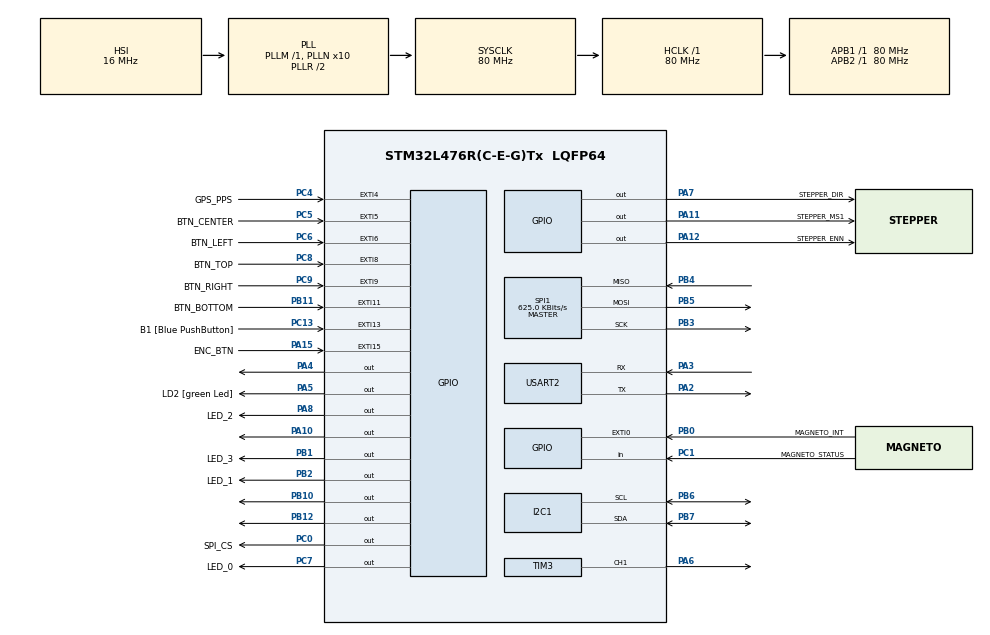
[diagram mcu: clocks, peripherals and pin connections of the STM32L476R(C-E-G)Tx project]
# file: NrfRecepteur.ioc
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I2C1.Timing=0x10909CEC
Mcu.Family=STM32L4
Mcu.Name=STM32L476R(C-E-G)Tx
Mcu.Package=LQFP64
NVIC.EXTI15_10_IRQn=true\:0\:0\:false\:false\:true\:true\:true\:true
NVIC.PriorityGroup=NVIC_PRIORITYGROUP_4
NVIC.TIM4_IRQn=true\:0\:0\:false\:false\:true\:true\:true\:true
NVIC.TIM6_DAC_IRQn=true\:15\:0\:false\:false\:true\:false\:true\:true
NVIC.TimeBase=TIM6_DAC_IRQn
NVIC.TimeBaseIP=TIM6
PA0.Signal=S_TIM2_CH1
PA1.Signal=S_TIM2_CH2
PA10.Signal=GPIO_Output
PA11.GPIO_Label=STEPPER_MS1
PA11.Signal=GPIO_Output
PA12.GPIO_Label=STEPPER_ENN
PA12.PinState=GPIO_PIN_SET
PA12.Signal=GPIO_Output
PA13\ (JTMS-SWDIO).GPIO_Label=TMS
PA13\ (JTMS-SWDIO).Signal=SYS_JTMS-SWDIO
PA14\ (JTCK-SWCLK).GPIO_Label=TCK
PA14\ (JTCK-SWCLK).Signal=SYS_JTCK-SWCLK
PA15\ (JTDI).GPIO_Label=ENC_BTN
PA15\ (JTDI).Signal=GPXTI15
PA2.Mode=Asynchronous
PA2.Signal=USART2_TX
PA3.Mode=Asynchronous
PA3.Signal=USART2_RX
PA4.Signal=GPIO_Output
PA5.GPIO_Label=LD2 [green Led]
PA5.GPIO_ModeDefaultOutputPP=GPIO_MODE_OUTPUT_PP
PA5.GPIO_PuPd=GPIO_NOPULL
PA5.GPIO_Speed=GPIO_SPEED_FREQ_LOW
PA5.Signal=GPIO_Output
PA6.Signal=S_TIM3_CH1
PA7.GPIO_Label=STEPPER_DIR
PA7.Signal=GPIO_Output
PA8.GPIO_Label=LED_2
PA8.Signal=GPIO_Output
PB0.GPIO_Label=MAGNETO_INT
PB0.Signal=GPXTI0
PB1.GPIO_Label=LED_3
PB1.Signal=GPIO_Output
PB10.Signal=GPIO_Output
PB11.GPIO_Label=BTN_BOTTOM
PB11.Signal=GPXTI11
PB12.Signal=GPIO_Output
PB13.Signal=SPI2_SCK
PB14.Signal=SPI2_MISO
PB15.Signal=SPI2_MOSI
PB2.GPIO_Label=LED_1
PB2.Signal=GPIO_Output
PB3\ (JTDO-TRACESWO).Mode=Full_Duplex_Master
PB3\ (JTDO-TRACESWO).Signal=SPI1_SCK
PB4\ (NJTRST).Mode=Full_Duplex_Master
PB4\ (NJTRST).Signal=SPI1_MISO
PB5.Mode=Full_Duplex_Master
PB5.Signal=SPI1_MOSI
PB6.Mode=I2C
PB6.Signal=I2C1_SCL
PB7.Mode=I2C
PB7.Signal=I2C1_SDA
PC0.GPIO_Label=SPI_CS
PC0.PinState=GPIO_PIN_SET
PC0.Signal=GPIO_Output
PC1.GPIO_Label=MAGNETO_STATUS
PC1.Signal=GPIO_Input
PC13.GPIO_Label=B1 [Blue PushButton]
PC13.GPIO_ModeDefaultEXTI=GPIO_MODE_IT_FALLING
PC13.GPIO_PuPd=GPIO_NOPULL
PC13.Signal=GPXTI13
PC14-OSC32_IN\ (PC14).Mode=LSE-External-Oscillator
PC14-OSC32_IN\ (PC14).Signal=RCC_OSC32_IN
PC15-OSC32_OUT\ (PC15).Mode=LSE-External-Oscillator
PC15-OSC32_OUT\ (PC15).Signal=RCC_OSC32_OUT
PC4.GPIO_Label=GPS_PPS
PC4.Signal=GPXTI4
PC5.GPIO_Label=BTN_CENTER
PC5.Signal=GPXTI5
PC6.GPIO_Label=BTN_LEFT
PC6.Signal=GPXTI6
PC7.GPIO_Label=LED_0
PC7.Signal=GPIO_Output
PC8.GPIO_Label=BTN_TOP
PC8.Signal=GPXTI8
PC9.GPIO_Label=BTN_RIGHT
PC9.Signal=GPXTI9
PH0-OSC_IN\ (PH0).Mode=HSE-External-Oscillator
PH0-OSC_IN\ (PH0).Signal=RCC_OSC_IN
PH1-OSC_OUT\ (PH1).Mode=HSE-External-Oscillator
PH1-OSC_OUT\ (PH1).Signal=RCC_OSC_OUT
ProjectManager.HeapSize=0x200
ProjectManager.StackSize=0x400
ProjectManager.TargetToolchain=STM32CubeIDE
RCC.ADCFreq_Value=64000000
RCC.AHBFreq_Value=80000000
RCC.APB1Freq_Value=80000000
RCC.APB1TimFreq_Value=80000000
RCC.APB2Freq_Value=80000000
RCC.APB2TimFreq_Value=80000000
RCC.CortexFreq_Value=80000000
RCC.HCLKFreq_Value=80000000
RCC.HSE_VALUE=8000000
RCC.HSI_VALUE=16000000
RCC.MSI_VALUE=4000000
RCC.PLLN=10
RCC.PLLSourceVirtual=RCC_PLLSOURCE_HSI
RCC.PREFETCH_ENABLE=1
RCC.SYSCLKFreq_VALUE=80000000
RCC.SYSCLKSource=RCC_SYSCLKSOURCE_PLLCLK
RCC.USBFreq_Value=64000000
RCC.VCOOutputFreq_Value=160000000
SH.S_TIM2_CH1.0=TIM2_CH1
SH.S_TIM2_CH2.0=TIM2_CH2
SH.S_TIM3_CH1.0=TIM3_CH1,PWM Generation1 CH1
SPI1.BaudRatePrescaler=SPI_BAUDRATEPRESCALER_128
SPI1.CLKPhase=SPI_PHASE_1EDGE
SPI1.CLKPolarity=SPI_POLARITY_LOW
SPI1.CalculateBaudRate=625.0 KBits/s
SPI1.DataSize=SPI_DATASIZE_8BIT
SPI1.Direction=SPI_DIRECTION_2LINES
SPI1.Mode=SPI_MODE_MASTER
SPI1.VirtualType=VM_MASTER
TIM3.Channel-PWM\ Generation1\ CH1=TIM_CHANNEL_1
TIM4.Period=9999
TIM4.Prescaler=79
TIM4.TIM_MasterOutputTrigger=TIM_TRGO_UPDATE
USART2.VirtualMode-Asynchronous=VM_ASYNC
VP_SYS_VS_tim6.Mode=TIM6
VP_TIM3_VS_ClockSourceINT.Mode=Internal
VP_TIM4_VS_ClockSourceINT.Mode=Internal
board=NUCLEO-L476RG

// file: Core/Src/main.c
/* USER CODE BEGIN Header */
/**
  ******************************************************************************
  * @file           : main.c
  * @brief          : Main program body
  ******************************************************************************
  * @attention
  *
  * Copyright (c) 2026 STMicroelectronics.
  * All rights reserved.
  *
  * This software is licensed under terms that can be found in the LICENSE file
  * in the root directory of this software component.
  * If no LICENSE file comes with this software, it is provided AS-IS.
  *
  ******************************************************************************
  */
/* USER CODE END Header */
#include "main.h"
#include "i2c.h"
#include "spi.h"
#include "tim.h"
#include "usart.h"
#include "gpio.h"
#include <stdio.h>
#include <stdlib.h>
#include<stdbool.h>
#include "recepteur.h"

void SystemClock_Config(void);

/* USER CODE BEGIN 0 */
int __io_putchar(int ch)
{
	HAL_UART_Transmit(&huart2, (uint8_t *)&ch, 1, HAL_MAX_DELAY);
	return ch;
}

int __io_getchar(void)
{
	uint8_t ch = 0;
	__HAL_UART_CLEAR_OREFLAG(&huart2);
	HAL_UART_Receive(&huart2, (uint8_t *)&ch, 1, HAL_MAX_DELAY);
	HAL_UART_Transmit(&huart2, (uint8_t *)&ch, 1, HAL_MAX_DELAY);
	return ch;
}

extern SPI_HandleTypeDef hspi1; // À remplacer par hspi2 si CubeMX a configuré le SPI2

void nRF24_SPI_Init(void) {}

uint8_t nRF24_SPI_TransmitReceive(uint8_t data) {
    uint8_t rx_data = 0;
    HAL_SPI_TransmitReceive(&hspi1, &data, &rx_data, 1, 100);
    return rx_data;
}

void nRF24_SetCE(uint8_t state) {
    // Configuration sur le trou D2 (PA10)
    HAL_GPIO_WritePin(GPIOA, GPIO_PIN_10, state ? GPIO_PIN_SET : GPIO_PIN_RESET);
}

void nRF24_SetCSN(uint8_t state) {
    // Configuration sur le trou D6 (PB10) -- Attention c'est GPIOB !
    HAL_GPIO_WritePin(GPIOB, GPIO_PIN_10, state ? GPIO_PIN_SET : GPIO_PIN_RESET);
}

void nRF24_DelayMs(uint32_t ms) {
    HAL_Delay(ms);
}

/* USER CODE END 0 */

int main(void)
{

  /* MCU Configuration--------------------------------------------------------*/

  /* Reset of all peripherals, Initializes the Flash interface and the Systick. */
  HAL_Init();

  /* Configure the system clock */
  SystemClock_Config();

  /* Initialize all configured peripherals */
  MX_GPIO_Init();
  MX_I2C1_Init();
  MX_TIM3_Init();
  MX_TIM4_Init();
  MX_USART2_UART_Init();
  MX_SPI1_Init();

  /* Infinite loop */
  /* USER CODE BEGIN WHILE */
  nRF24_SetCSN(0);

  // 1. On envoie la commande de lecture
  nRF24_SPI_TransmitReceive(0x00 | 0x04);

  // 2. On lit la réponse (avec 0x00)
  uint8_t valeur_verif = nRF24_SPI_TransmitReceive(0xff);

  nRF24_SetCSN(1);
 //Verification du fonctionnement de la  communication spi
  printf("Registre lu: 0x%02X\r\n", valeur_verif);

      while (1)
      {
    	  /* USER CODE END WHILE */
    	  /* USER CODE BEGIN 3 */
    	  uint8_t commande_recue = 0;

    	  // Vérification et lecture du paquet radio nRF24
    	  if (Appeler_Lecture_nRF24(&commande_recue, sizeof(commande_recue)) == true)
    	  {
    		  printf("Commande recue : 0x%02X\n", commande_recue);

    		  // Action physique en fonction de la commande reçue
    		  switch(commande_recue)
    		  {
    		  case 0x01: // Commande d'allumage
    			  printf("Commande: ALLUMER LA LED\r\n");
    			  // On envoie du 3.3V (SET) sur la broche PA5 pour éclairer la LED
    			  HAL_GPIO_WritePin(GPIOA, GPIO_PIN_5, GPIO_PIN_SET);
    			  break;

    		  case 0x02: // Commande d'extinction
    			  printf("Commande: ETEINDRE LA LED\r\n");
    			  // On coupe le courant (RESET) sur la broche PA5 pour éteindre la LED
    			  HAL_GPIO_WritePin(GPIOA, GPIO_PIN_5, GPIO_PIN_RESET);
    			  break;

    		  default:
    			  printf("Action : Code inconnu, on ne fait rien.\r\n");
    			  break;
    		  }
    	  }

    	  HAL_Delay(5); // Courte pause anti-surchauffe du processeur
    	  /* USER CODE END 3 */
      }
}

void SystemClock_Config(void)
{
  RCC_OscInitTypeDef RCC_OscInitStruct = {0};
  RCC_ClkInitTypeDef RCC_ClkInitStruct = {0};

  /** Configure the main internal regulator output voltage
  */
  if (HAL_PWREx_ControlVoltageScaling(PWR_REGULATOR_VOLTAGE_SCALE1) != HAL_OK)
  {
    Error_Handler();
  }

  /** Initializes the RCC Oscillators according to the specified parameters
  * in the RCC_OscInitTypeDef structure.
  */
  RCC_OscInitStruct.OscillatorType = RCC_OSCILLATORTYPE_HSI;
  RCC_OscInitStruct.HSIState = RCC_HSI_ON;
  RCC_OscInitStruct.HSICalibrationValue = RCC_HSICALIBRATION_DEFAULT;
  RCC_OscInitStruct.PLL.PLLState = RCC_PLL_ON;
  RCC_OscInitStruct.PLL.PLLSource = RCC_PLLSOURCE_HSI;
  RCC_OscInitStruct.PLL.PLLM = 1;
  RCC_OscInitStruct.PLL.PLLN = 10;
  RCC_OscInitStruct.PLL.PLLP = RCC_PLLP_DIV7;
  RCC_OscInitStruct.PLL.PLLQ = RCC_PLLQ_DIV2;
  RCC_OscInitStruct.PLL.PLLR = RCC_PLLR_DIV2;
  if (HAL_RCC_OscConfig(&RCC_OscInitStruct) != HAL_OK)
  {
    Error_Handler();
  }

  /** Initializes the CPU, AHB and APB buses clocks
  */
  RCC_ClkInitStruct.ClockType = RCC_CLOCKTYPE_HCLK|RCC_CLOCKTYPE_SYSCLK
                              |RCC_CLOCKTYPE_PCLK1|RCC_CLOCKTYPE_PCLK2;
  RCC_ClkInitStruct.SYSCLKSource = RCC_SYSCLKSOURCE_PLLCLK;
  RCC_ClkInitStruct.AHBCLKDivider = RCC_SYSCLK_DIV1;
  RCC_ClkInitStruct.APB1CLKDivider = RCC_HCLK_DIV1;
  RCC_ClkInitStruct.APB2CLKDivider = RCC_HCLK_DIV1;

  if (HAL_RCC_ClockConfig(&RCC_ClkInitStruct, FLASH_LATENCY_4) != HAL_OK)
  {
    Error_Handler();
  }
}

void HAL_TIM_PeriodElapsedCallback(TIM_HandleTypeDef *htim)
{
  if (htim->Instance == TIM6) {
    HAL_IncTick();
  }
}

void Error_Handler(void)
{
  __disable_irq();
  while (1)
  {
  }
}
